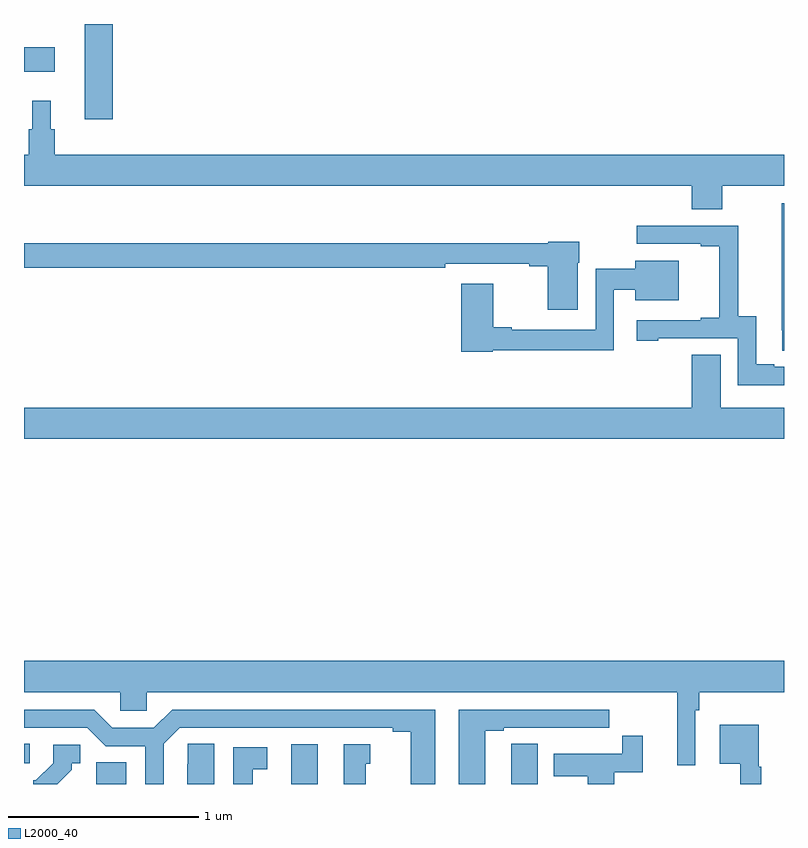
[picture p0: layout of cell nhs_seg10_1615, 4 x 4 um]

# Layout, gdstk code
import gdstk
lib = gdstk.Library(unit=1e-6, precision=1e-09)
def R(c, l, rs):  # rectangles x0, y0, x1, y1
    for r in rs: c.add(gdstk.rectangle(r[:2], r[2:], *l))
def P(c, l, *ps):  # polygons
    for p in ps: c.add(gdstk.Polygon(p, *l))
L2000_40 = (2000, 40)

nhs_seg10_1615 = lib.new_cell('nhs_seg10_1615')
R(nhs_seg10_1615, L2000_40, [(195.38,1298.5,195.538,1298.615), (196.406,1298.5,196.546,1298.71), (195,1298.61,195.031,1298.711), (195.32,1302,195.467,1302.5), (195,1302.248,195.163,1302.378)])
P(nhs_seg10_1615, L2000_40, [(198.515,1301.524),(198.675,1301.524),(198.675,1301.648),(199,1301.648),(199,1301.812),(195.161,1301.812),(195.161,1301.946),(195.142,1301.946),(195.142,1302.097),(195.044,1302.097),(195.044,1301.946),(195.025,1301.946),(195.025,1301.812),(195,1301.812),(195,1301.648),(198.515,1301.648)],
  [(199,1301.556),(198.989,1301.556),(198.989,1300.888),(198.99,1300.888),(198.99,1300.78),(199,1300.78)],
  [(199,1300.695),(198.949,1300.695),(198.949,1300.71),(198.853,1300.71),(198.853,1300.961),(198.759,1300.961),(198.759,1301.439),(198.225,1301.439),(198.225,1301.343),(198.563,1301.343),(198.563,1301.331),(198.659,1301.331),(198.659,1300.954),(198.563,1300.954),(198.563,1300.941),(198.225,1300.941),(198.225,1300.833),(198.337,1300.833),(198.337,1300.845),(198.756,1300.845),(198.756,1300.599),(199,1300.599)],
  [(197.914,1301.243),(197.922,1301.243),(197.922,1301.355),(197.76,1301.355),(197.76,1301.347),(195,1301.347),(195,1301.218),(197.216,1301.218),(197.216,1301.238),(197.66,1301.238),(197.66,1301.226),(197.756,1301.226),(197.756,1300.995),(197.914,1300.995)],
  [(197.466,1300.782),(198.105,1300.782),(198.105,1301.102),(198.218,1301.102),(198.218,1301.045),(198.445,1301.045),(198.445,1301.254),(198.218,1301.254),(198.218,1301.212),(198.009,1301.212),(198.009,1300.89),(197.566,1300.89),(197.566,1300.903),(197.47,1300.903),(197.47,1301.134),(197.3,1301.134),(197.3,1300.774),(197.466,1300.774)],
  [(199,1300.48),(198.667,1300.48),(198.667,1300.76),(198.515,1300.76),(198.515,1300.48),(195,1300.48),(195,1300.316),(199,1300.316)],
  [(198.534,1298.888),(198.554,1298.888),(198.554,1298.984),(199,1298.984),(199,1299.148),(195,1299.148),(195,1298.984),(195.507,1298.984),(195.507,1298.886),(195.645,1298.886),(195.645,1298.984),(198.437,1298.984),(198.437,1298.598),(198.534,1298.598)],
  [(197.428,1298.781),(197.524,1298.781),(197.524,1298.796),(197.8,1298.796),(197.8,1298.795),(197.966,1298.795),(197.966,1298.796),(198.079,1298.796),(198.079,1298.892),(197.288,1298.892),(197.288,1298.5),(197.428,1298.5)],
  [(195.735,1298.712),(195.819,1298.796),(196.94,1298.796),(196.94,1298.776),(197.036,1298.776),(197.036,1298.5),(197.164,1298.5),(197.164,1298.892),(195.779,1298.892),(195.683,1298.796),(195.465,1298.796),(195.369,1298.892),(195,1298.892),(195,1298.796),(195.333,1298.796),(195.429,1298.7),(195.639,1298.7),(195.639,1298.5),(195.735,1298.5)],
  [(198.88,1298.592),(198.868,1298.592),(198.868,1298.812),(198.662,1298.812),(198.662,1298.606),(198.771,1298.606),(198.771,1298.5),(198.88,1298.5)],
  [(198.106,1298.562),(198.257,1298.562),(198.257,1298.755),(198.148,1298.755),(198.148,1298.658),(197.789,1298.658),(197.789,1298.542),(197.966,1298.542),(197.966,1298.5),(198.106,1298.5)],
  [(196,1298.711),(195.861,1298.711),(195.861,1298.603),(195.86,1298.603),(195.86,1298.5),(196,1298.5)],
  [(197.704,1298.711),(197.565,1298.711),(197.565,1298.603),(197.564,1298.603),(197.564,1298.5),(197.704,1298.5)],
  [(196.798,1298.607),(196.822,1298.607),(196.822,1298.71),(196.682,1298.71),(196.682,1298.5),(196.798,1298.5)],
  [(195.25,1298.575),(195.25,1298.61),(195.295,1298.61),(195.295,1298.706),(195.153,1298.706),(195.153,1298.61),(195.063,1298.52),(195.048,1298.52),(195.048,1298.5),(195.175,1298.5)],
  [(196.204,1298.578),(196.279,1298.578),(196.279,1298.694),(196.1,1298.694),(196.1,1298.5),(196.204,1298.5)])

lib.write_gds('nhs_seg10_1615.gds')
